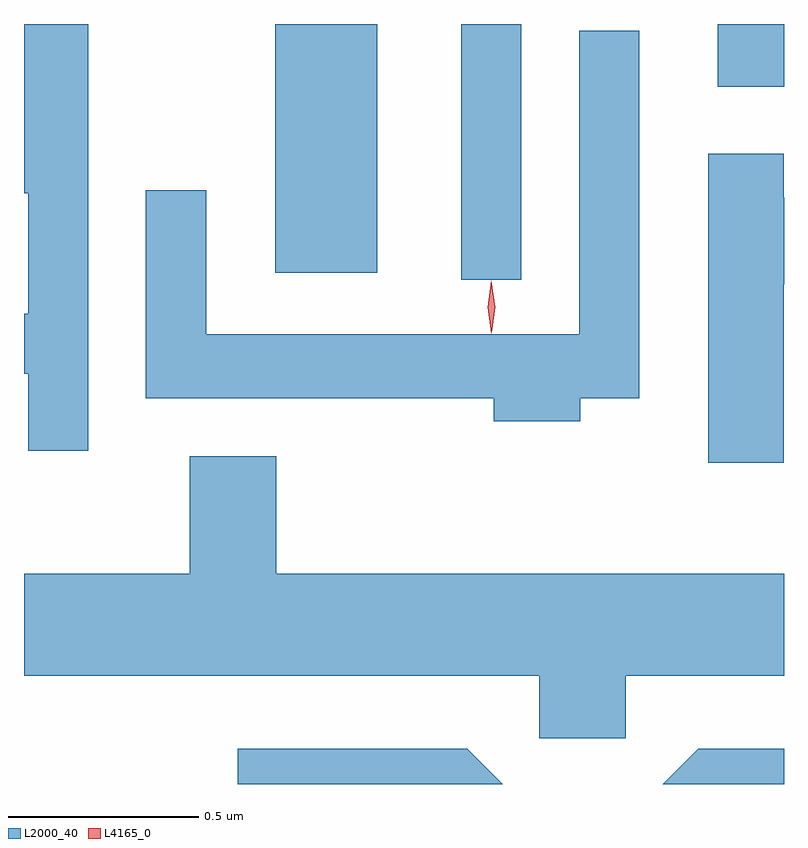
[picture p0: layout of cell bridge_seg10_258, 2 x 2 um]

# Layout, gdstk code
import gdstk
lib = gdstk.Library(unit=1e-6, precision=1e-09)
def R(c, l, rs):  # rectangles x0, y0, x1, y1
    for r in rs: c.add(gdstk.rectangle(r[:2], r[2:], *l))
def P(c, l, *ps):  # polygons
    for p in ps: c.add(gdstk.Polygon(p, *l))
L2000_40 = (2000, 40)
L4165_0 = (4165, 0)

bridge_seg10_258 = lib.new_cell('bridge_seg10_258')
R(bridge_seg10_258, L2000_40, [(1801.946,2099.418,1802.104,2100.091), (1801.456,2099.436,1801.724,2100.091), (1802.621,2099.926,1802.795,2100.091)])
P(bridge_seg10_258, L2000_40, [(1800.964,2100.091),(1800.795,2100.091),(1800.795,2099.646),(1800.806,2099.646),(1800.806,2099.329),(1800.795,2099.329),(1800.795,2099.171),(1800.806,2099.171),(1800.806,2098.968),(1800.964,2098.968)],
  [(1802.259,2099.106),(1802.414,2099.106),(1802.414,2100.073),(1802.256,2100.073),(1802.256,2099.274),(1801.274,2099.274),(1801.274,2099.653),(1801.116,2099.653),(1801.116,2099.106),(1802.031,2099.106),(1802.031,2099.046),(1802.259,2099.046)],
  [(1802.794,2099.406),(1802.795,2099.406),(1802.795,2099.634),(1802.794,2099.634),(1802.794,2099.749),(1802.596,2099.749),(1802.596,2098.936),(1802.794,2098.936)],
  [(1802.379,2098.376),(1802.795,2098.376),(1802.795,2098.644),(1801.459,2098.644),(1801.459,2098.954),(1801.231,2098.954),(1801.231,2098.644),(1800.795,2098.644),(1800.795,2098.376),(1802.151,2098.376),(1802.151,2098.211),(1802.379,2098.211)],
  [(1802.795,2098.184),(1802.569,2098.184),(1802.476,2098.091),(1802.795,2098.091)],
  [(1801.962,2098.184),(1801.358,2098.184),(1801.358,2098.091),(1802.055,2098.091)])
P(bridge_seg10_258, L4165_0, [(1802.025,2099.28),(1802.025,2099.28),(1802.015,2099.346),(1802.024,2099.412),(1802.025,2099.413),(1802.025,2099.412),(1802.035,2099.346),(1802.026,2099.28)],
  [(1802.024,2099.277),(1802.015,2099.346),(1802.024,2099.416),(1802.025,2099.416),(1802.025,2099.416),(1802.035,2099.346),(1802.025,2099.277),(1802.025,2099.277)])

lib.write_gds('bridge_seg10_258.gds')
